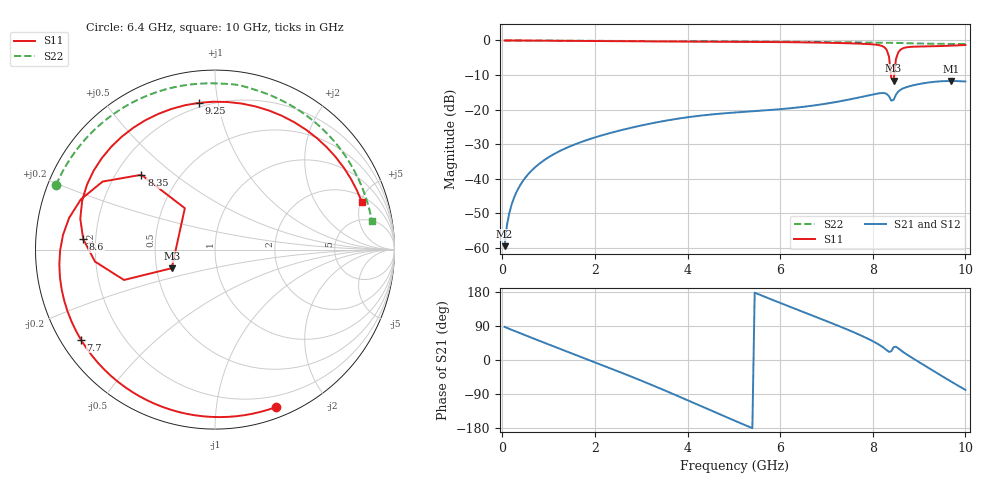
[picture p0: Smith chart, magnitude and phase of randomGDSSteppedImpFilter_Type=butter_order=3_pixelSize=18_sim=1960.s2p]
! freq	dB(S11)	phase(S11)	dB(S12)	phase(S12)
!  dB(S21)	phase(S21)	dB(S22)	phase(S22)
!S-par simulation data
#  GHz  S  DB  R 50
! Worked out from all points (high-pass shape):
!   200 points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, 50 MHz to 10 GHz, reference 50 ohm
!   highest |S21| = -11.72 dB at 9.7 GHz (marker M1); lowest = -59.5 dB at 50 MHz (marker M2)
!   |S21| within 3 dB of the highest: 8.555 GHz to end of sweep
!   lowest |S11| = -11.6 dB at 8.45 GHz (marker M3), VSWR 1.71, Z = 30 - j6.68 ohm
!   |S11| at or under -10 dB: 8.393 GHz to 8.463 GHz (70.26 MHz wide, 0.834 % of centre)
!   |S22| runs from -1.0 to 0.0 dB; largest |S21 - S12| = 0
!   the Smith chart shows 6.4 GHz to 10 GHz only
!   S11 on the Smith chart (normalised r, x): 6.4 GHz: 0.10, -1.46; 7.7 GHz: 0.06, -0.30; 8.35 GHz: 0.30, +0.39; 8.6 GHz: 0.15, +0.04; 9.25 GHz: 0.17, +0.88; 10 GHz: 2.48, +5.09
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0.05  -0.00 -3.1  -59.47 87.3  -59.47 87.3  -0.00 -1.8
0.2  -0.01 -12.5  -47.50 79.7  -47.50 79.7  -0.00 -7.2
0.5  -0.03 -31.2  -39.63 65.2  -39.63 65.2  -0.01 -17.9
1.15  -0.09 -71.5  -32.60 34.0  -32.60 34.0  -0.05 -40.6
1.75  -0.14 -109.1  -29.14 5.6  -29.14 5.6  -0.08 -60.8
2.65  -0.22 -168.2  -25.66 -37.2  -25.66 -37.2  -0.12 -89.7
3.4  -0.29 138.1  -23.51 -74.7  -23.51 -74.7  -0.16 -112.5
4.15  -0.35 81.1  -21.94 -114.2  -21.94 -114.2  -0.20 -134.6
5.05  -0.40 15.0  -20.80 -161.9  -20.80 -161.9  -0.27 -160.7
5.65  -0.44 -24.4  -20.24 167.7  -20.24 167.7  -0.32 -178.6
6.4  -0.53 -68.7  -19.34 131.5  -19.34 131.5  -0.39 157.9
6.7  -0.59 -85.6  -18.85 117.2  -18.85 117.2  -0.43 147.9
7.7  -0.92 -146.1  -16.49 67.2  -16.49 67.2  -0.57 111.6
8.15  -1.40 174.5  -15.26 39.3  -15.26 39.3  -0.65 93.5
8.35  -4.66 134.6  -16.12 21.5  -16.12 21.5  -0.67 85.1
8.45  -11.61 -156.8  -17.18 33.8  -17.18 33.8  -0.68 80.5
8.5  -5.44 -161.5  -15.70 35.1  -15.70 35.1  -0.71 78.3
8.6  -2.65 175.5  -14.24 26.1  -14.24 26.1  -0.76 74.0
8.9  -1.79 135.2  -12.88 1.9  -12.88 1.9  -0.85 60.8
9.25  -1.70 96.1  -12.07 -24.3  -12.07 -24.3  -0.93 44.9
9.7  -1.50 47.6  -11.72 -57.6  -11.72 -57.6  -1.01 24.2
10  -1.31 18.1  -11.87 -78.7  -11.87 -78.7  -1.03 10.3
